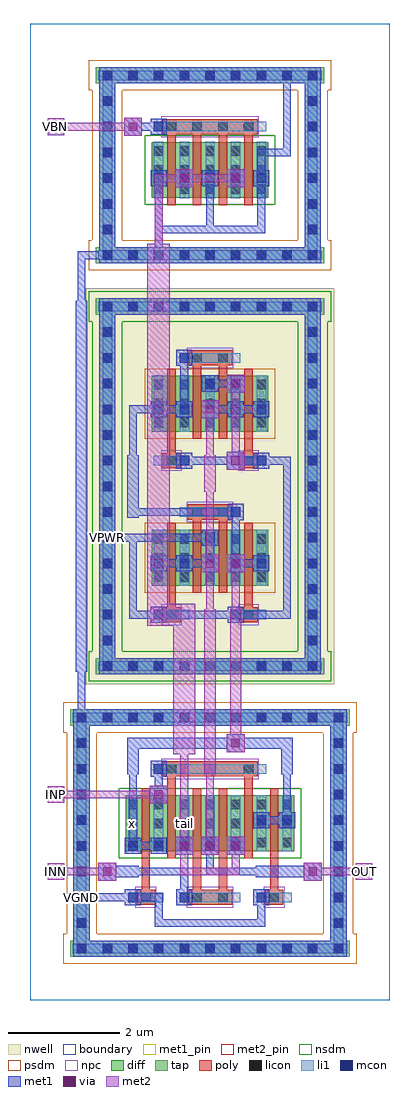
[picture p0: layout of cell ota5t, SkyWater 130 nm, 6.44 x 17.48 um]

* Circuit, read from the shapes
.subckt ota5t INN INP OUT VBN VGND VPWR tail x
XM1 x VGND x VGND sky130_fd_pr__nfet_01v8 w=1 l=0.15 m=2
XM2 tail INP x VGND sky130_fd_pr__nfet_01v8 w=1 l=0.15 m=2
XM3 tail VBN VGND VGND sky130_fd_pr__nfet_01v8 w=1 l=0.15 m=4
XM4 OUT INN tail VGND sky130_fd_pr__nfet_01v8 w=1 l=0.15 m=2
XM5 OUT VPWR OUT VPWR sky130_fd_pr__pfet_01v8 w=1 l=0.15 m=2
XM6 x VPWR x VPWR sky130_fd_pr__pfet_01v8 w=1 l=0.15 m=2
XM7 VPWR x OUT VPWR sky130_fd_pr__pfet_01v8 w=1 l=0.15 m=2
XM8 VPWR x x VPWR sky130_fd_pr__pfet_01v8 w=1 l=0.15 m=2
.ends

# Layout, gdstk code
import gdstk
lib = gdstk.Library(unit=1e-6, precision=1e-09)
def R(c, l, rs):  # rectangles x0, y0, x1, y1
    for r in rs: c.add(gdstk.rectangle(r[:2], r[2:], *l))
def A(c, l, x, y, w, h, nx, ny, dx, dy):  # array of equal rectangles
    R(c, l, [(x+i*dx, y+j*dy, x+i*dx+w, y+j*dy+h) for i in range(nx) for j in range(ny)])
nwell = (64, 20)
diff = (65, 20)
tap = (65, 44)
poly = (66, 20)
licon = (66, 44)
li1 = (67, 20)
mcon = (67, 44)
met1_pin = (68, 16)
met1 = (68, 20)
via = (68, 44)
met2_pin = (69, 16)
met2 = (69, 20)
nsdm = (93, 44)
psdm = (94, 20)
npc = (95, 20)
boundary = (235, 4)

ota5t = lib.new_cell('ota5t')
R(ota5t, nwell, [(0.995,5.655,5.445,12.745)])
R(ota5t, diff, [(1.715,2.665,4.725,3.665), (2.175,7.42,4.265,8.42), (2.175,10.18,4.265,11.18), (2.175,14.365,4.265,15.365)])
R(ota5t, tap, [(0.715,0.775,5.725,1.065), (0.775,0.775,1.065,5.205), (5.375,0.775,5.665,5.205), (0.715,4.915,5.725,5.205), (1.175,5.835,5.265,6.125), (1.235,5.835,1.525,12.565), (4.915,5.835,5.205,12.565), (1.175,12.275,5.265,12.565), (1.175,13.195,5.265,13.485), (1.235,13.195,1.525,16.705), (4.915,13.195,5.205,16.705), (1.175,16.415,5.265,16.705)])
A(ota5t, poly, 2.455, 14.235, 0.15, 1.405, 4, 1, 0.46, 0)
R(ota5t, poly, [(1.905,1.705,2.235,1.975), (2.825,1.705,3.615,1.975), (4.205,1.705,4.535,1.975), (1.995,1.84,2.145,3.795), (2.915,1.84,3.065,3.795), (3.375,1.84,3.525,3.795), (4.295,1.84,4.445,3.795), (2.455,2.535,2.605,4.14), (3.835,2.535,3.985,4.14), (2.365,4.005,4.075,4.275), (2.365,6.765,2.695,7.035), (3.745,6.765,4.075,7.035), (2.455,6.9,2.605,8.55), (3.835,6.9,3.985,8.55), (2.915,7.29,3.065,8.74), (3.375,7.29,3.525,8.74), (2.825,8.605,3.615,8.875), (2.365,9.525,2.695,9.795), (3.745,9.525,4.075,9.795), (2.455,9.66,2.605,11.31), (3.835,9.66,3.985,11.31), (2.915,10.05,3.065,11.5), (3.375,10.05,3.525,11.5), (2.825,11.365,3.615,11.635), (2.365,15.505,4.075,15.775)])
A(ota5t, licon, 0.835, 0.835, 0.17, 0.17, 11, 2, 0.46, 4.14)
A(ota5t, licon, 0.835, 1.295, 0.17, 0.17, 1, 8, 0, 0.46)
A(ota5t, licon, 5.435, 1.295, 0.17, 0.17, 1, 8, 0, 0.46)
A(ota5t, licon, 1.755, 2.74, 0.17, 0.17, 7, 3, 0.46, 0.34)
A(ota5t, licon, 2.445, 4.055, 0.17, 0.17, 1, 3, 0, 2.76)
A(ota5t, licon, 3.825, 4.055, 0.17, 0.17, 1, 3, 0, 2.76)
A(ota5t, licon, 1.295, 5.895, 0.17, 0.17, 9, 2, 0.46, 6.44)
A(ota5t, licon, 1.295, 6.355, 0.17, 0.17, 1, 13, 0, 0.46)
A(ota5t, licon, 4.975, 6.355, 0.17, 0.17, 1, 13, 0, 0.46)
A(ota5t, licon, 2.215, 7.495, 0.17, 0.17, 5, 3, 0.46, 0.34)
A(ota5t, licon, 2.215, 10.255, 0.17, 0.17, 5, 3, 0.46, 0.34)
A(ota5t, licon, 1.295, 13.255, 0.17, 0.17, 9, 2, 0.46, 3.22)
A(ota5t, licon, 1.295, 13.715, 0.17, 0.17, 1, 6, 0, 0.46)
A(ota5t, licon, 4.975, 13.715, 0.17, 0.17, 1, 6, 0, 0.46)
A(ota5t, licon, 2.215, 14.44, 0.17, 0.17, 5, 3, 0.46, 0.34)
A(ota5t, licon, 2.445, 15.555, 0.17, 0.17, 4, 1, 0.46, 0)
R(ota5t, licon, [(1.985,1.755,2.155,1.925), (2.905,1.755,3.075,1.925), (3.365,1.755,3.535,1.925), (4.285,1.755,4.455,1.925), (2.905,8.655,3.075,8.825), (3.365,8.655,3.535,8.825), (2.905,11.415,3.075,11.585), (3.365,11.415,3.535,11.585)])
A(ota5t, li1, 1.755, 2.66, 0.17, 1.01, 7, 1, 0.46, 0)
A(ota5t, li1, 2.215, 7.415, 0.17, 1.01, 5, 2, 0.46, 2.76)
A(ota5t, li1, 2.215, 14.36, 0.17, 1.01, 5, 1, 0.46, 0)
R(ota5t, li1, [(0.755,0.835,5.685,1.005), (0.835,0.835,1.005,5.145), (5.435,0.835,5.605,5.145), (1.755,1.755,2.385,1.925), (2.675,1.755,3.765,1.925), (4.055,1.755,4.685,1.925), (2.215,4.055,4.225,4.225), (0.755,4.975,5.685,5.145), (1.215,5.895,5.225,6.065), (1.295,5.895,1.465,12.505), (4.975,5.895,5.145,12.505), (2.215,6.815,2.845,6.985), (3.595,6.815,4.225,6.985), (2.675,8.655,3.765,8.825), (2.215,9.575,2.845,9.745), (3.595,9.575,4.225,9.745), (2.675,11.415,3.765,11.585), (1.215,12.335,5.225,12.505), (1.215,13.255,5.225,13.425), (1.295,13.255,1.465,16.645), (4.975,13.255,5.145,16.645), (2.215,15.555,4.225,15.725), (1.215,16.475,5.225,16.645)])
A(ota5t, mcon, 0.835, 0.835, 0.17, 0.17, 11, 2, 0.46, 4.14)
A(ota5t, mcon, 5.435, 1.295, 0.17, 0.17, 1, 8, 0, 0.46)
A(ota5t, mcon, 0.835, 1.755, 0.17, 0.17, 3, 1, 0.92, 0)
A(ota5t, mcon, 0.835, 2.215, 0.17, 0.17, 1, 6, 0, 0.46)
A(ota5t, mcon, 1.755, 2.675, 0.17, 0.17, 5, 1, 0.46, 0)
A(ota5t, mcon, 1.295, 5.895, 0.17, 0.17, 9, 2, 0.46, 6.44)
A(ota5t, mcon, 1.295, 6.355, 0.17, 0.17, 1, 4, 0, 0.46)
A(ota5t, mcon, 2.215, 6.815, 0.17, 0.17, 3, 1, 1.38, 0)
A(ota5t, mcon, 1.295, 8.195, 0.17, 0.17, 3, 2, 1.84, 2.76)
A(ota5t, mcon, 4.975, 8.655, 0.17, 0.17, 1, 5, 0, 0.46)
A(ota5t, mcon, 1.295, 9.575, 0.17, 0.17, 3, 1, 1.38, 0)
A(ota5t, mcon, 1.295, 13.255, 0.17, 0.17, 9, 2, 0.46, 3.22)
A(ota5t, mcon, 1.295, 13.715, 0.17, 0.17, 1, 6, 0, 0.46)
A(ota5t, mcon, 4.975, 13.715, 0.17, 0.17, 1, 6, 0, 0.46)
A(ota5t, mcon, 2.215, 14.635, 0.17, 0.17, 5, 1, 0.46, 0)
R(ota5t, mcon, [(0.835,1.295,1.005,1.465), (4.055,1.755,4.225,1.925), (4.055,3.135,4.225,3.305), (4.515,3.135,4.685,3.305), (2.215,4.055,2.385,4.225), (4.975,6.355,5.145,6.525), (4.975,7.275,5.145,7.445), (2.215,7.735,2.385,7.905), (2.675,7.735,2.845,7.905), (3.595,7.735,3.765,7.905), (4.055,7.735,4.225,7.905), (4.975,7.735,5.145,7.905), (1.295,8.655,1.465,8.825), (3.595,8.655,3.765,8.825), (1.295,9.115,1.465,9.285), (1.295,10.035,1.465,10.205), (1.295,10.495,1.465,10.665), (2.215,10.495,2.385,10.665), (2.675,10.495,2.845,10.665), (3.595,10.495,3.765,10.665), (4.055,10.495,4.225,10.665), (1.295,11.415,1.465,11.585), (2.675,11.415,2.845,11.585), (4.975,11.415,5.145,11.585), (1.295,11.875,1.465,12.045), (4.975,11.875,5.145,12.045), (2.215,15.555,2.385,15.725)])
R(ota5t, met1_pin, [(0.85,1.77,0.99,1.91), (1.31,8.21,1.45,8.35)])
A(ota5t, met1, 2.6, 2.6, 0.32, 0.32, 3, 1, 0.46, 0)
A(ota5t, met1, 1.695, 2.615, 0.29, 0.29, 5, 1, 0.46, 0)
A(ota5t, met1, 3.535, 6.755, 0.29, 0.29, 1, 3, 0, 0.92)
A(ota5t, met1, 2.615, 9.515, 0.29, 0.29, 1, 3, 0, 0.92)
A(ota5t, met1, 2.155, 14.575, 0.29, 0.29, 5, 1, 0.46, 0)
R(ota5t, met1, [(0.775,0.775,5.665,1.065), (0.775,0.775,1.065,5.205), (5.375,0.775,5.665,5.205), (2.23,1.31,2.37,1.91), (2.23,1.31,4.21,1.45), (4.07,1.31,4.21,1.91), (1.695,1.695,1.985,1.985), (2.615,1.695,2.905,1.985), (3.995,1.695,4.285,1.985), (0.85,1.77,1.91,1.91), (0.85,1.77,0.99,1.91), (0.85,1.77,0.99,5.13), (1.77,1.77,2.37,1.91), (2.69,1.77,2.83,2.37), (1.22,2.14,1.54,2.46), (4.9,2.14,5.22,2.46), (1.28,2.2,1.94,2.4), (4.04,2.2,5.16,2.4), (1.77,2.23,2.83,2.37), (3.15,2.23,3.29,2.83), (3.15,2.23,4.21,2.37), (1.77,2.69,2.37,2.83), (1.77,2.69,1.91,4.21), (3.995,3.075,4.285,3.365), (4.455,3.075,4.745,3.365), (4.07,3.15,4.67,3.29), (4.53,3.15,4.67,4.21), (2.14,3.52,2.46,3.84), (2.23,3.61,2.37,4.21), (2.155,3.995,2.445,4.285), (1.74,4.04,1.94,4.7), (4.5,4.04,4.7,4.7), (3.52,4.44,3.84,4.76), (1.74,4.5,4.7,4.7), (0.775,4.915,5.665,5.205), (0.85,4.99,0.99,6.05), (0.85,4.99,0.99,5.13), (1.235,5.835,5.205,6.125), (1.235,5.835,1.525,12.565), (4.915,5.835,5.205,12.565), (0.82,5.88,1.02,12.52), (2.155,6.755,2.445,7.045), (1.77,6.83,2.37,6.97), (1.77,6.83,1.91,8.35), (2.23,6.83,3.75,6.97), (3.61,6.83,4.67,6.97), (4.53,6.83,4.67,9.73), (3.06,7.66,3.38,7.98), (3.52,7.66,3.84,7.98), (2.155,7.675,2.445,7.965), (2.615,7.675,2.905,7.965), (3.995,7.675,4.285,7.965), (2.23,7.75,2.83,7.89), (2.69,7.75,3.29,7.89), (3.61,7.75,4.21,7.89), (3.61,7.75,3.75,8.81), (3.075,8.135,3.365,8.425), (1.31,8.21,3.29,8.35), (1.31,8.21,1.45,12.49), (1.31,8.21,1.45,8.35), (1.74,8.64,1.94,9.76), (1.77,8.67,3.75,8.81), (3.52,9.5,3.84,9.82), (3.995,9.515,4.285,9.805), (1.77,9.59,1.91,10.65), (2.69,9.59,4.21,9.73), (4.07,9.59,4.67,9.73), (3.06,10.42,3.38,10.74), (2.155,10.435,2.445,10.725), (3.535,10.435,3.825,10.725), (3.995,10.435,4.285,10.725), (1.77,10.51,2.37,10.65), (2.23,10.51,2.83,10.65), (2.69,10.51,2.83,11.57), (3.15,10.51,3.75,10.65), (3.61,10.51,4.21,10.65), (3.52,10.88,3.84,11.2), (3.075,10.895,3.365,11.185), (3.15,10.97,3.75,11.11), (1.235,12.275,5.205,12.565), (0.85,12.35,0.99,13.41), (1.31,12.35,1.45,12.49), (1.235,13.195,5.205,13.485), (1.235,13.195,1.525,16.705), (4.915,13.195,5.205,16.705), (0.85,13.27,1.45,13.41), (1.31,13.27,2.37,13.41), (1.31,13.27,1.45,13.41), (2.23,13.27,2.37,14.79), (2.23,13.73,3.29,13.87), (3.15,13.73,4.21,13.87), (3.15,13.73,3.29,14.79), (4.07,13.73,4.21,14.79), (2.6,14.56,2.92,14.88), (3.52,14.56,3.84,14.88), (4.07,14.65,4.21,15.25), (4.07,15.11,4.67,15.25), (4.53,15.11,4.67,16.63), (1.68,15.48,2,15.8), (2.155,15.495,2.445,15.785), (1.77,15.57,2.37,15.71), (1.235,16.415,5.205,16.705), (4.53,16.49,4.67,16.63)])
A(ota5t, via, 2.685, 2.685, 0.15, 0.15, 3, 1, 0.46, 0)
R(ota5t, via, [(1.305,2.225,1.455,2.375), (4.985,2.225,5.135,2.375), (2.225,3.605,2.375,3.755), (3.605,4.525,3.755,4.675), (3.145,7.745,3.295,7.895), (3.605,7.745,3.755,7.895), (3.605,9.585,3.755,9.735), (3.145,10.505,3.295,10.655), (3.605,10.965,3.755,11.115), (2.685,14.645,2.835,14.795), (3.605,14.645,3.755,14.795), (1.765,15.565,1.915,15.715)])
R(ota5t, met2_pin, [(0.31,2.15,0.61,2.45), (5.83,2.15,6.13,2.45), (0.31,3.53,0.61,3.83), (0.31,15.49,0.61,15.79)])
A(ota5t, met2, 0.39, 2.23, 1.06, 0.14, 3, 1, 2.3, 0)
A(ota5t, met2, 2.6, 2.6, 0.32, 0.32, 3, 1, 0.46, 0)
R(ota5t, met2, [(1.22,2.14,1.54,2.46), (4.9,2.14,5.22,2.46), (0.31,2.15,0.61,2.45), (5.83,2.15,6.13,2.45), (0.39,2.23,0.53,2.37), (2.69,2.23,2.83,2.83), (3.61,2.23,3.75,2.83), (5.91,2.23,6.05,2.37), (2.69,2.69,2.83,4.67), (3.15,2.69,3.29,4.21), (2.14,3.52,2.46,3.84), (0.31,3.53,0.61,3.83), (0.39,3.61,0.53,3.75), (0.39,3.61,2.37,3.75), (3.12,4.04,3.32,7), (2.56,4.4,2.96,7.1), (3.52,4.44,3.84,4.76), (3.58,4.5,3.78,7), (2.1,6.7,2.96,7.1), (2.1,6.7,2.5,13.54), (3.15,6.83,3.29,7.89), (3.61,6.83,3.75,7.89), (3.06,7.66,3.38,7.98), (3.52,7.66,3.84,7.98), (3.15,7.75,3.29,9.27), (3.12,9.1,3.32,9.76), (3.52,9.5,3.84,9.82), (3.15,9.59,3.29,10.65), (3.61,9.59,3.75,11.11), (3.06,10.42,3.38,10.74), (3.52,10.88,3.84,11.2), (2.23,13.27,2.37,14.79), (2.6,14.56,2.92,14.88), (3.52,14.56,3.84,14.88), (2.23,14.65,2.83,14.79), (2.69,14.65,3.75,14.79), (1.68,15.48,2,15.8), (0.31,15.49,0.61,15.79), (0.39,15.57,0.53,15.71), (0.39,15.57,1.91,15.71)])
R(ota5t, nsdm, [(1.59,2.54,4.85,3.79), (1.05,5.71,5.39,6.25), (1.11,6.25,1.65,12.15), (4.79,6.25,5.33,12.15), (1.05,12.15,5.39,12.69), (2.05,14.24,4.39,15.49)])
R(ota5t, psdm, [(0.59,0.65,5.85,1.19), (0.65,1.19,1.19,4.79), (5.25,1.19,5.79,4.79), (0.59,4.79,5.85,5.33), (2.05,7.295,4.39,8.545), (2.05,10.055,4.39,11.305), (1.05,13.07,5.39,13.61), (1.11,13.61,1.65,16.29), (4.79,13.61,5.33,16.29), (1.05,16.29,5.39,16.83)])
R(ota5t, npc, [(1.885,1.655,2.255,2.025), (2.805,1.655,3.635,2.025), (4.185,1.655,4.555,2.025), (2.345,3.955,4.095,4.325), (2.345,6.715,2.715,7.085), (3.725,6.715,4.095,7.085), (2.805,8.555,3.635,8.925), (2.345,9.475,2.715,9.845), (3.725,9.475,4.095,9.845), (2.805,11.315,3.635,11.685), (2.345,15.455,4.095,15.825)])
R(ota5t, boundary, [(0,0,6.44,17.48)])
ota5t.add(gdstk.Label('x', (1.84,3.165), layer=67, texttype=5))
ota5t.add(gdstk.Label('tail', (2.76,3.165), layer=67, texttype=5))
ota5t.add(gdstk.Label('VPWR', (1.38,8.28), layer=68, texttype=5))
ota5t.add(gdstk.Label('VGND', (0.92,1.84), layer=68, texttype=5))
ota5t.add(gdstk.Label('INP', (0.46,3.68), layer=69, texttype=5))
ota5t.add(gdstk.Label('INN', (0.46,2.3), layer=69, texttype=5))
ota5t.add(gdstk.Label('VBN', (0.46,15.64), layer=69, texttype=5))
ota5t.add(gdstk.Label('OUT', (5.98,2.3), layer=69, texttype=5))
ota5t.add(gdstk.Label('VPWR', (1.38,8.28), layer=68, texttype=16))
ota5t.add(gdstk.Label('VGND', (0.92,1.84), layer=68, texttype=16))
ota5t.add(gdstk.Label('INP', (0.46,3.68), layer=69, texttype=16))
ota5t.add(gdstk.Label('INN', (0.46,2.3), layer=69, texttype=16))
ota5t.add(gdstk.Label('VBN', (0.46,15.64), layer=69, texttype=16))
ota5t.add(gdstk.Label('OUT', (5.98,2.3), layer=69, texttype=16))

lib.write_gds('ota5t.gds')
